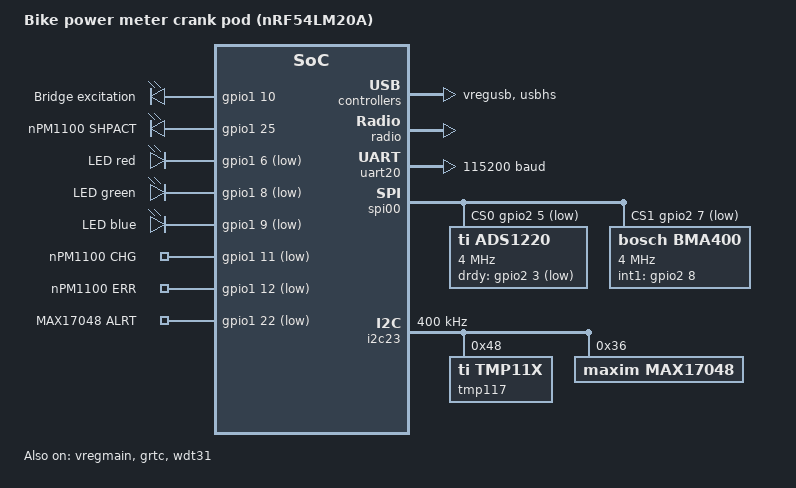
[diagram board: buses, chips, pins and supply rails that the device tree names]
/*
 * Bike power meter: the crank pod board, with the nRF54LM20A on the
 * MinewSemi ME54BS13 module.
 *
 * Every device the pod carries, on the pins it carries them on
 * (docs/02-hardware.md, Pinos do módulo); the pin map and the two rules of
 * the part that shape it are in pmboard-pinctrl.dtsi. The same aliases as
 * the DK overlay, so the services do not change between the two targets.
 *
 * Nothing here has been built: the board is being drawn from the same pin
 * table (hardware_powermeter/cad), and no unit exists.
 */

/dts-v1/;

#include <nordic/nrf54lm20a_cpuapp.dtsi>
#include <vendor/nordic/nrf54lm20a_cpuapp_partition.dtsi>
#include "pmboard-pinctrl.dtsi"

/ {
	compatible = "pm,pmboard-nrf54lm20a-cpuapp";
	model = "Bike power meter crank pod (nRF54LM20A)";

	chosen {
		zephyr,code-partition = &slot0_partition;
		zephyr,sram = &cpuapp_sram;
		zephyr,flash-controller = &rram_controller;
		zephyr,flash = &cpuapp_rram;
		/* the console lives on two test pads under the potting */
		zephyr,console = &uart20;
		zephyr,shell-uart = &uart20;
		zephyr,uart-mcumgr = &uart20;
	};

	aliases {
		bridge-adc = &ads1220;
		bridge-excitation = &exc_en;
		imu0 = &bma400;
		temp0 = &tmp117;
		fuel-gauge0 = &max17048;
		charger-status = &chg_n;
		charger-error = &err_n;
		ship-activate = &ship_act;
		led-r = &led_r;
		led-g = &led_g;
		led-b = &led_b;
		watchdog0 = &wdt31;
	};

	/* outputs: the excitation switch, the ship-mode pin, the LED (active low) */
	pm_outputs {
		compatible = "gpio-leds";

		exc_en: exc_en {
			gpios = <&gpio1 10 GPIO_ACTIVE_HIGH>;
			label = "Bridge excitation";
		};

		ship_act: ship_act {
			gpios = <&gpio1 25 GPIO_ACTIVE_HIGH>;
			label = "nPM1100 SHPACT";
		};

		led_r: led_r {
			gpios = <&gpio1 6 GPIO_ACTIVE_LOW>;
			label = "LED red";
		};

		led_g: led_g {
			gpios = <&gpio1 8 GPIO_ACTIVE_LOW>;
			label = "LED green";
		};

		led_b: led_b {
			gpios = <&gpio1 9 GPIO_ACTIVE_LOW>;
			label = "LED blue";
		};
	};

	/* inputs: the charger pins are open drain, low when active */
	pm_inputs {
		compatible = "gpio-keys";

		chg_n: chg_n {
			gpios = <&gpio1 11 (GPIO_PULL_UP | GPIO_ACTIVE_LOW)>;
			label = "nPM1100 CHG";
		};

		err_n: err_n {
			gpios = <&gpio1 12 (GPIO_PULL_UP | GPIO_ACTIVE_LOW)>;
			label = "nPM1100 ERR";
		};

		gauge_alrt: gauge_alrt {
			gpios = <&gpio1 22 (GPIO_PULL_UP | GPIO_ACTIVE_LOW)>;
			label = "MAX17048 ALRT";
		};
	};
};

/*
 * Partitions: MCUboot with the USB serial recovery takes 96 KB, and each
 * image slot gives up 16 KB (sysbuild/mcuboot.overlay carries the same
 * three nodes for the bootloader image; the two must agree).
 */
/delete-node/ &slot0_partition;
/delete-node/ &slot1_partition;

&boot_partition {
	reg = <0x0 DT_SIZE_K(96)>;
};

&cpuapp_rram {
	partitions {
		slot0_partition: partition@18000 {
			label = "image-0";
			reg = <0x18000 DT_SIZE_K(904)>;
		};

		slot1_partition: partition@fa000 {
			label = "image-1";
			reg = <0xfa000 DT_SIZE_K(904)>;
		};
	};
};

&cpuapp_sram {
	status = "okay";
};

&hfpll {
	clock-frequency = <DT_FREQ_M(128)>;
};

/* The module carries the two crystals; load capacitors are internal */
&lfxo {
	load-capacitors = "internal";
	load-capacitance-femtofarad = <17000>;
};

&hfxo {
	load-capacitors = "internal";
	load-capacitance-femtofarad = <15000>;
};

&vregmain {
	status = "okay";
	regulator-initial-mode = <NRF5X_REG_MODE_DCDC>;
};

&vregusb {
	status = "okay";
};

&grtc {
	owned-channels = <0 1 2 3 4 5 6 7 8 9 10 11>;
	child-owned-channels = <3 4 7 8 9 10 11>;
	status = "okay";
};

&clock {
	status = "okay";
};

&radio {
	status = "okay";
};

&gpio0 {
	status = "okay";
};

&gpio1 {
	status = "okay";
};

&gpio2 {
	status = "okay";
};

&gpio3 {
	status = "okay";
};

&gpiote20 {
	status = "okay";
};

&gpiote30 {
	status = "okay";
};

/* Hardware watchdog behind the task watchdog of the services */
&wdt31 {
	status = "okay";
};

/* ---- Console on the test pads ---- */
&uart20 {
	status = "okay";
	current-speed = <115200>;
	pinctrl-0 = <&uart20_default>;
	pinctrl-1 = <&uart20_sleep>;
	pinctrl-names = "default", "sleep";
};

/*
 * ---- Bridge converter and accelerometer ----
 *
 * One bus, two chip selects: the ADS1220 on P2.05 with DRDY on P2.03, the
 * BMA400 on P2.07 with INT1 on P2.08. SPI mode 1 for the converter and
 * mode 0 for the accelerometer: the drivers set it per transfer.
 */
&spi00 {
	status = "okay";
	cs-gpios = <&gpio2 5 GPIO_ACTIVE_LOW>, <&gpio2 7 GPIO_ACTIVE_LOW>;
	pinctrl-0 = <&spi00_default>;
	pinctrl-1 = <&spi00_sleep>;
	pinctrl-names = "default", "sleep";

	/*
	 * ADS1220 on the bridge: AIN0-AIN1 differential, gain 128, 175 SPS in
	 * normal mode, the excitation on REFP0/REFN0 as reference (docs/06,
	 * Amostragem). SCLK at most 6,6 MHz (150 ns period): 4 MHz here.
	 */
	ads1220: ads1220@0 {
		compatible = "ti,ads1220";
		reg = <0>;
		spi-max-frequency = <4000000>;
		drdy-gpios = <&gpio2 3 GPIO_ACTIVE_LOW>;
		gain = <128>;
		data-rate = <175>;
		mux = <0>;
		vref = "refp0";
	};

	/* BMA400: 100 Hz, ±4 g (the centripetal term at 200 rpm is 2,2 g), INT1 */
	bma400: bma400@1 {
		compatible = "bosch,bma400";
		reg = <1>;
		spi-max-frequency = <4000000>;
		int1-gpios = <&gpio2 8 GPIO_ACTIVE_HIGH>;
		range = <4>;
		odr = <100>;
		osr = <0>;
	};
};

/* ---- Temperature of the bridge and the fuel gauge ---- */
&i2c23 {
	status = "okay";
	clock-frequency = <I2C_BITRATE_FAST>;
	pinctrl-0 = <&i2c23_default>;
	pinctrl-1 = <&i2c23_sleep>;
	pinctrl-names = "default", "sleep";

	/* TI TMP117, ADD0 to ground: 0x48; one conversion a second, 8 averaged */
	tmp117: tmp117@48 {
		compatible = "ti,tmp11x";
		reg = <0x48>;
		odr = <0x200>;
		oversampling = <0x20>;
	};

	/* Analog Devices MAX17048, fixed address 0x36 */
	max17048: max17048@36 {
		compatible = "maxim,max17048";
		reg = <0x36>;
	};
};

/*
 * ---- USB: the serial of the commands, through the magnetic connector ----
 *
 * The label zephyr_udc0 is what the DK's board files give the controller;
 * the USB service finds the port by the node label cdc_acm_uart0.
 */
zephyr_udc0: &usbhs {
	status = "okay";

	cdc_acm_uart0: cdc_acm_uart0 {
		compatible = "zephyr,cdc-acm-uart";
	};
};
